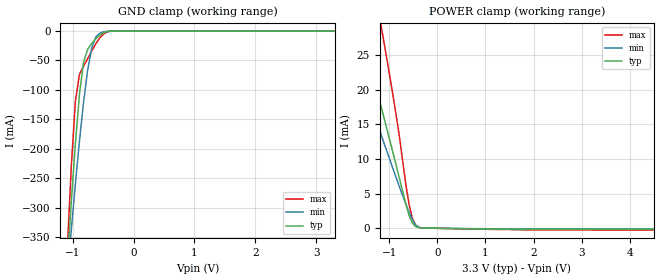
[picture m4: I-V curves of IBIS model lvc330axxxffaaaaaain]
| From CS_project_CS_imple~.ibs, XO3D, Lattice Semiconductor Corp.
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[Model] lvc330axxxffaaaaaain
Model_type Input
Polarity   Non-Inverting
Enable   Active-High
Vinl =  0.800V
Vinh =  2.000V
C_comp   4.200pF   3.800pF   7.500pF
[Temperature Range]   25.000   0.105k   -40.000
[Voltage Range]   3.300V   3.140V   3.470V
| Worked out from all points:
|   GND clamp passes 1 mA (typ) near -0.43 V on its own axis
|   POWER clamp passes 1 mA (typ) near -0.53 V on its own axis
[GND_clamp]
|Voltage   I(typ)   I(min)   I(max)
-3.3V     -4.506A    -3.482A    -6.262A
-1.089V   -398.3mA   -420.5mA   -374.5mA
-1.022V   -290.6mA   -338.5mA   -230.4mA
-955mV    -191.2mA   -260.1mA   -119.8mA
-888mV    -107.4mA   -186.9mA   -73.47mA
-821mV    -52.87mA   -121.3mA   -59.62mA
-754mV    -31.28mA   -66.86mA   -47.24mA
-687mV    -21.04mA   -28.74mA   -34.02mA
-620mV    -13.09mA   -10.15mA   -21.79mA
-553mV    -6.755mA   -3.505mA   -11.52mA
-352mV    -90.18uA   -45.39uA   -119.9uA
3.3V      0A         0A         0A
[POWER_clamp]
|Voltage   I(typ)   I(min)   I(max)
-3.3V     62.1mA     51.02mA    92.7mA
-1.926V   36.35mA    28.59mA    56.55mA
-1.591V   28.28mA    21.98mA    45.01mA
-1.189V   18.03mA    13.9mA     29.96mA
-1.122V   16.26mA    12.55mA    27.31mA
-988mV    12.68mA    9.882mA    21.88mA
-787mV    7.154mA    5.963mA    13.15mA
-586mV    1.819mA    2.29mA     3.395mA
-519mV    748.7uA    1.242mA    1.434mA
-452mV    255.4uA    468.1uA    442.9uA
1.223V    -104.1uA   -69.89uA   -164.8uA
6.6V      -145.9uA   -91.75uA   -251.2uA
